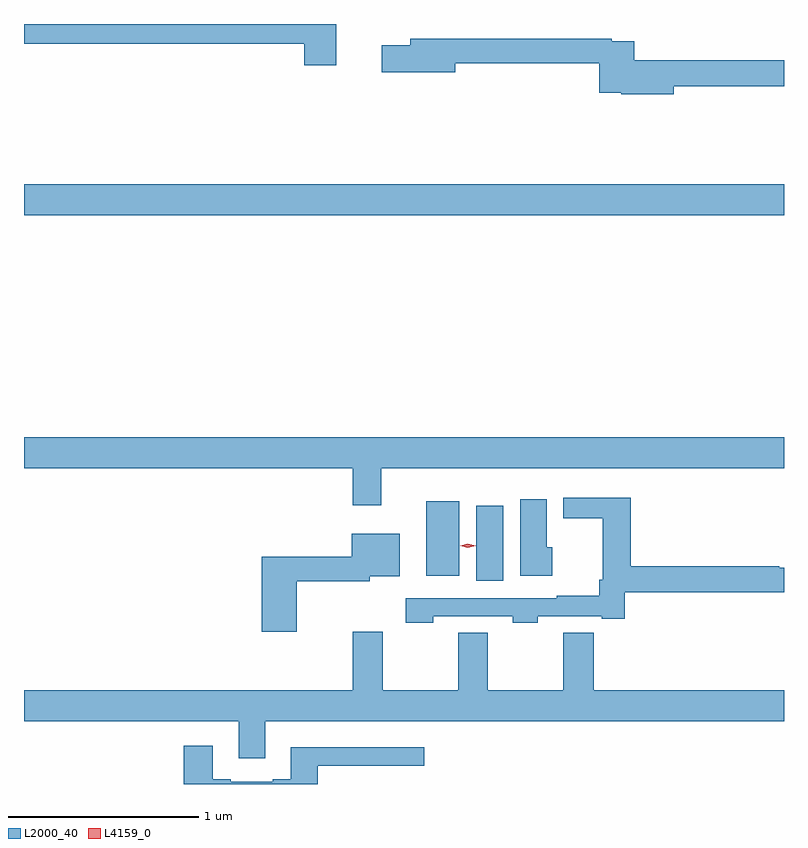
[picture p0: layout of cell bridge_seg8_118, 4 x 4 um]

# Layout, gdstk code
import gdstk
lib = gdstk.Library(unit=1e-6, precision=1e-09)
def R(c, l, rs):  # rectangles x0, y0, x1, y1
    for r in rs: c.add(gdstk.rectangle(r[:2], r[2:], *l))
def P(c, l, *ps):  # polygons
    for p in ps: c.add(gdstk.Polygon(p, *l))
L2000_40 = (2000, 40)
L4159_0 = (4159, 0)

bridge_seg8_118 = lib.new_cell('bridge_seg8_118')
R(bridge_seg8_118, L2000_40, [(810.482,1141.217,810.625,1141.612), (810.218,1141.244,810.394,1141.636), (808.102,1143.14,812.102,1143.304)])
P(bridge_seg8_118, L2000_40, [(809.746,1144.147),(808.102,1144.147),(808.102,1144.042),(809.576,1144.042),(809.576,1143.93),(809.746,1143.93)],
  [(811.522,1143.82),(812.102,1143.82),(812.102,1143.956),(811.313,1143.956),(811.313,1144.056),(811.196,1144.056),(811.196,1144.069),(810.134,1144.069),(810.134,1144.035),(809.985,1144.035),(809.985,1143.893),(810.373,1143.893),(810.373,1143.94),(811.13,1143.94),(811.13,1143.785),(811.246,1143.785),(811.246,1143.778),(811.522,1143.778)],
  [(809.983,1141.808),(812.102,1141.808),(812.102,1141.972),(808.102,1141.972),(808.102,1141.808),(809.831,1141.808),(809.831,1141.614),(809.983,1141.614)],
  [(810.255,1141.029),(810.675,1141.029),(810.675,1140.997),(810.807,1140.997),(810.807,1141.029),(811.142,1141.029),(811.142,1141.017),(811.265,1141.017),(811.265,1141.156),(812.102,1141.156),(812.102,1141.285),(812.078,1141.285),(812.078,1141.292),(811.295,1141.292),(811.295,1141.654),(810.939,1141.654),(810.939,1141.545),(811.148,1141.545),(811.148,1141.222),(811.129,1141.222),(811.129,1141.138),(810.907,1141.138),(810.907,1141.125),(810.111,1141.125),(810.111,1140.997),(810.255,1140.997)],
  [(810.883,1141.392),(810.853,1141.392),(810.853,1141.645),(810.713,1141.645),(810.713,1141.244),(810.883,1141.244)],
  [(809.537,1141.213),(809.922,1141.213),(809.922,1141.241),(810.079,1141.241),(810.079,1141.465),(809.828,1141.465),(809.828,1141.342),(809.354,1141.342),(809.354,1140.948),(809.537,1140.948)],
  [(809.371,1140.476),(812.102,1140.476),(812.102,1140.64),(811.1,1140.64),(811.1,1140.944),(810.94,1140.944),(810.94,1140.64),(810.542,1140.64),(810.542,1140.944),(810.388,1140.944),(810.388,1140.64),(809.991,1140.64),(809.991,1140.949),(809.831,1140.949),(809.831,1140.64),(808.102,1140.64),(808.102,1140.476),(809.231,1140.476),(809.231,1140.282),(809.371,1140.282)],
  [(809.647,1140.243),(810.208,1140.243),(810.208,1140.34),(809.507,1140.34),(809.507,1140.172),(809.411,1140.172),(809.411,1140.159),(809.191,1140.159),(809.191,1140.172),(809.095,1140.172),(809.095,1140.349),(808.943,1140.349),(808.943,1140.147),(809.647,1140.147)])
P(bridge_seg8_118, L4159_0, [(810.438,1141.391),(810.398,1141.401),(810.398,1141.401),(810.398,1141.402),(810.438,1141.412),(810.479,1141.402),(810.479,1141.401),(810.479,1141.401)])

lib.write_gds('bridge_seg8_118.gds')
